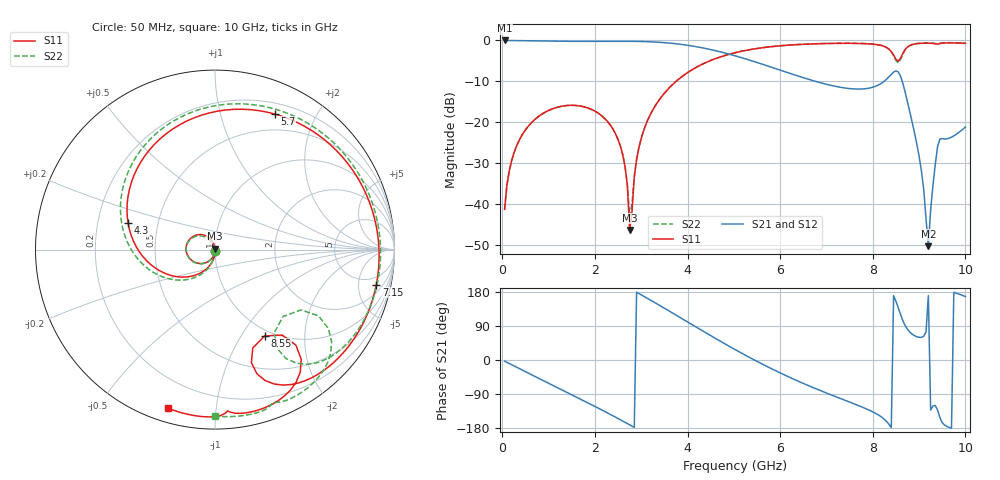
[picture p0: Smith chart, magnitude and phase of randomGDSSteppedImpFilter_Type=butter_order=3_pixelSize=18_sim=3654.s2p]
! freq	dB(S11)	phase(S11)	dB(S12)	phase(S12)
!  dB(S21)	phase(S21)	dB(S22)	phase(S22)
!S-par simulation data
#  GHz  S  DB  R 50
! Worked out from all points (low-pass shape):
!   200 points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, 50 MHz to 10 GHz, reference 50 ohm
!   highest |S21| = -0.01 dB at 50 MHz (marker M1); lowest = -50.3 dB at 9.2 GHz (marker M2)
!   |S21| within 3 dB of the highest: start of sweep to 4.784 GHz
!   lowest |S11| = -46.3 dB at 2.75 GHz (marker M3), VSWR 1.01, Z = 50 + j0.483 ohm
!   |S11| at or under -10 dB: start of sweep to 3.753 GHz
!   |S22| runs from -42.9 to -0.5 dB; largest |S21 - S12| = 0
!   S11 on the Smith chart (normalised r, x): 50 MHz: 1.00, -0.02; 4.3 GHz: 0.33, +0.13; 5.7 GHz: 0.31, +1.49; 7.15 GHz: 3.19, -8.08; 8.55 GHz: 0.92, -1.27; 10 GHz: 0.06, -0.74
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0.05  -41.29 -90.7  -0.01 -3.1  -0.01 -3.1  -41.29 -90.6
0.2  -29.46 -102.1  -0.03 -12.4  -0.03 -12.4  -29.46 -101.8
0.55  -21.14 -124.6  -0.08 -33.8  -0.08 -33.8  -21.14 -123.8
1.75  -16.19 160.8  -0.23 -106.9  -0.23 -106.9  -16.20 164.1
2.5  -24.24 112.4  -0.21 -154.4  -0.21 -154.4  -24.25 120.5
2.65  -30.78 102.0  -0.21 -164.3  -0.21 -164.3  -30.74 116.2
2.75  -46.33 90.4  -0.22 -171.0  -0.22 -171.0  -42.92 153.7
2.95  -26.22 -97.7  -0.25 175.4  -0.25 175.4  -26.11 -99.6
3.4  -14.35 -130.2  -0.46 143.9  -0.46 143.9  -14.33 -125.9
4.3  -5.92 163.2  -1.76 78.7  -1.76 78.7  -5.91 171.7
5.05  -2.95 109.2  -3.83 25.9  -3.83 25.9  -2.94 120.6
5.7  -1.67 66.3  -6.13 -16.1  -6.13 -16.1  -1.66 79.6
6.7  -0.85 9.7  -9.80 -72.2  -9.80 -72.2  -0.84 24.6
7.15  -0.73 -12.2  -11.12 -94.4  -11.12 -94.4  -0.71 3.0
8.35  -2.13 -69.0  -8.89 -169.5  -8.89 -169.5  -2.17 -54.4
8.55  -5.12 -60.2  -7.71 137.5  -7.71 137.5  -5.49 -44.5
8.7  -2.19 -51.8  -12.68 90.6  -12.68 90.6  -2.28 -34.8
9  -0.73 -70.1  -28.29 59.9  -28.29 59.9  -0.70 -53.6
9.2  -0.67 -79.1  -50.30 170.0  -50.30 170.0  -0.62 -62.7
9.3  -0.74 -83.1  -35.40 -121.4  -35.40 -121.4  -0.68 -66.7
9.45  -0.78 -86.4  -24.11 -152.3  -24.11 -152.3  -0.71 -70.2
10  -0.72 -106.6  -21.16 167.5  -21.16 167.5  -0.66 -90.0
